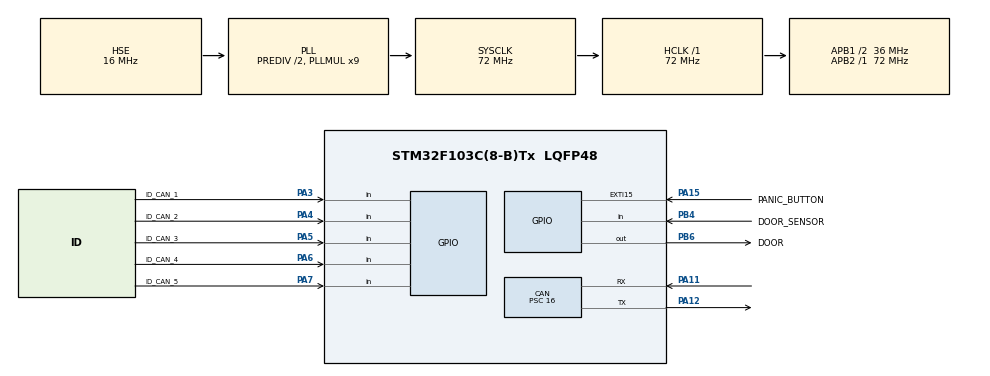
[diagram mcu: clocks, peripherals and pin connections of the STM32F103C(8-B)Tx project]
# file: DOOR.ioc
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CAN.BS1=CAN_BS1_16TQ
CAN.CalculateBaudRate=125000
CAN.CalculateTimeBit=8000
CAN.CalculateTimeQuantum=444.44444444444446
CAN.Prescaler=16
Mcu.Family=STM32F1
Mcu.Name=STM32F103C(8-B)Tx
Mcu.Package=LQFP48
NVIC.CAN1_RX1_IRQn=true\:1\:0\:true\:false\:true\:true\:true\:true
NVIC.EXTI15_10_IRQn=true\:0\:0\:false\:false\:true\:true\:true\:true
NVIC.PriorityGroup=NVIC_PRIORITYGROUP_4
NVIC.USB_LP_CAN1_RX0_IRQn=true\:1\:0\:true\:false\:true\:true\:true\:true
PA11.Mode=CAN_Activate
PA11.Signal=CAN_RX
PA12.Mode=CAN_Activate
PA12.Signal=CAN_TX
PA13.Mode=Serial_Wire
PA13.Signal=SYS_JTMS-SWDIO
PA14.Mode=Serial_Wire
PA14.Signal=SYS_JTCK-SWCLK
PA15.GPIO_Label=PANIC_BUTTON
PA15.GPIO_ModeDefaultEXTI=GPIO_MODE_IT_FALLING
PA15.Signal=GPXTI15
PA3.GPIO_Label=ID_CAN_1
PA3.GPIO_PuPd=GPIO_PULLDOWN
PA3.Signal=GPIO_Input
PA4.GPIO_Label=ID_CAN_2
PA4.GPIO_PuPd=GPIO_PULLDOWN
PA4.Signal=GPIO_Input
PA5.GPIO_Label=ID_CAN_3
PA5.GPIO_PuPd=GPIO_PULLDOWN
PA5.Signal=GPIO_Input
PA6.GPIO_Label=ID_CAN_4
PA6.GPIO_PuPd=GPIO_PULLDOWN
PA6.Signal=GPIO_Input
PA7.GPIO_Label=ID_CAN_5
PA7.GPIO_PuPd=GPIO_PULLDOWN
PA7.Signal=GPIO_Input
PB4.GPIO_Label=DOOR_SENSOR
PB4.Signal=GPIO_Input
PB6.GPIO_Label=DOOR
PB6.Signal=GPIO_Output
PD0-OSC_IN.Mode=HSE-External-Oscillator
PD0-OSC_IN.Signal=RCC_OSC_IN
PD1-OSC_OUT.Mode=HSE-External-Oscillator
PD1-OSC_OUT.Signal=RCC_OSC_OUT
ProjectManager.HeapSize=0x200
ProjectManager.StackSize=0x400
ProjectManager.TargetToolchain=STM32CubeIDE
RCC.AHBFreq_Value=72000000
RCC.APB1CLKDivider=RCC_HCLK_DIV2
RCC.APB1Freq_Value=36000000
RCC.APB1TimFreq_Value=72000000
RCC.APB2Freq_Value=72000000
RCC.APB2TimFreq_Value=72000000
RCC.HCLKFreq_Value=72000000
RCC.HSEDivPLL=RCC_HSE_PREDIV_DIV2
RCC.HSE_VALUE=16000000
RCC.PLLMUL=RCC_PLL_MUL9
RCC.PLLSourceVirtual=RCC_PLLSOURCE_HSE
RCC.SYSCLKFreq_VALUE=72000000
RCC.SYSCLKSource=RCC_SYSCLKSOURCE_PLLCLK
RCC.USBFreq_Value=72000000
board=custom

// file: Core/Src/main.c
/* USER CODE BEGIN Header */
/**
  ******************************************************************************
  * @file           : main.c
  * @brief          : Main program body
  ******************************************************************************
  * @attention
  *
  * Copyright (c) 2023 STMicroelectronics.
  * All rights reserved.
  *
  * This software is licensed under terms that can be found in the LICENSE file
  * in the root directory of this software component.
  * If no LICENSE file comes with this software, it is provided AS-IS.
  *
  ******************************************************************************
  */
/* USER CODE END Header */
#include "main.h"

/* USER CODE BEGIN Includes */
#include <math.h>
/* USER CODE END Includes */

CAN_HandleTypeDef hcan;

/* USER CODE BEGIN PV */
uint8_t can_id=0;								//CAN ID

CAN_TxHeaderTypeDef TxHeader;
CAN_RxHeaderTypeDef RxHeader;
uint32_t TxMailBox;
uint8_t RxData[8];
uint8_t TxData[8];

/* USER CODE END PV */

void SystemClock_Config(void);
static void MX_GPIO_Init(void);
static void MX_CAN_Init(void);
/* USER CODE BEGIN PFP */
void init_can_id(void);
void send_ack(void);
/* USER CODE END PFP */

/* USER CODE BEGIN 0 */

void HAL_CAN_RxFifo0MsgPendingCallback(CAN_HandleTypeDef *hcan){
	HAL_CAN_GetRxMessage(hcan, CAN_RX_FIFO0, &RxHeader, RxData);

	if(RxData[1] == 0x03){
		if(RxData[0]==0x01){
			HAL_GPIO_WritePin(DOOR_GPIO_Port, DOOR_Pin, GPIO_PIN_SET);
		}
		else if(RxData[0]==0x00){
			HAL_GPIO_WritePin(DOOR_GPIO_Port, DOOR_Pin, GPIO_PIN_RESET);
		}
	}

	send_ack();
}

void HAL_GPIO_EXTI_Callback(uint16_t GPIO_Pin)
{
	if (GPIO_Pin == PANIC_BUTTON_Pin){
	  TxHeader.DLC = 2;
	  TxHeader.ExtId = 0;
	  TxHeader.IDE = CAN_ID_STD;
	  TxHeader.RTR = CAN_RTR_DATA;
	  TxHeader.StdId = 0x1B;							//MB ID_CAN
	  TxHeader.TransmitGlobalTime = DISABLE;

	  TxData[0] = 0x08;
	  TxData[1] = can_id;

	  HAL_CAN_AddTxMessage(&hcan, &TxHeader, TxData, &TxMailBox);
	}
}

/* USER CODE END 0 */

int main(void)
{

  /* MCU Configuration--------------------------------------------------------*/

  /* Reset of all peripherals, Initializes the Flash interface and the Systick. */
  HAL_Init();

  /* Configure the system clock */
  SystemClock_Config();

  /* Initialize all configured peripherals */
  MX_GPIO_Init();
  MX_CAN_Init();
  /* USER CODE BEGIN 2 */
  init_can_id();
  MX_CAN_Init();

  HAL_CAN_Start(&hcan);
  HAL_CAN_ActivateNotification(&hcan, CAN_IT_RX_FIFO0_MSG_PENDING);
  /* USER CODE END 2 */

  /* Infinite loop */
  while (1)
  {

  }
}

void SystemClock_Config(void)
{
  RCC_OscInitTypeDef RCC_OscInitStruct = {0};
  RCC_ClkInitTypeDef RCC_ClkInitStruct = {0};

  /** Initializes the RCC Oscillators according to the specified parameters
  * in the RCC_OscInitTypeDef structure.
  */
  RCC_OscInitStruct.OscillatorType = RCC_OSCILLATORTYPE_HSE;
  RCC_OscInitStruct.HSEState = RCC_HSE_ON;
  RCC_OscInitStruct.HSEPredivValue = RCC_HSE_PREDIV_DIV2;
  RCC_OscInitStruct.HSIState = RCC_HSI_ON;
  RCC_OscInitStruct.PLL.PLLState = RCC_PLL_ON;
  RCC_OscInitStruct.PLL.PLLSource = RCC_PLLSOURCE_HSE;
  RCC_OscInitStruct.PLL.PLLMUL = RCC_PLL_MUL9;
  if (HAL_RCC_OscConfig(&RCC_OscInitStruct) != HAL_OK)
  {
    Error_Handler();
  }

  /** Initializes the CPU, AHB and APB buses clocks
  */
  RCC_ClkInitStruct.ClockType = RCC_CLOCKTYPE_HCLK|RCC_CLOCKTYPE_SYSCLK
                              |RCC_CLOCKTYPE_PCLK1|RCC_CLOCKTYPE_PCLK2;
  RCC_ClkInitStruct.SYSCLKSource = RCC_SYSCLKSOURCE_PLLCLK;
  RCC_ClkInitStruct.AHBCLKDivider = RCC_SYSCLK_DIV1;
  RCC_ClkInitStruct.APB1CLKDivider = RCC_HCLK_DIV2;
  RCC_ClkInitStruct.APB2CLKDivider = RCC_HCLK_DIV1;

  if (HAL_RCC_ClockConfig(&RCC_ClkInitStruct, FLASH_LATENCY_2) != HAL_OK)
  {
    Error_Handler();
  }
}

static void MX_CAN_Init(void)
{

  hcan.Instance = CAN1;
  hcan.Init.Prescaler = 16;
  hcan.Init.Mode = CAN_MODE_NORMAL;
  hcan.Init.SyncJumpWidth = CAN_SJW_1TQ;
  hcan.Init.TimeSeg1 = CAN_BS1_16TQ;
  hcan.Init.TimeSeg2 = CAN_BS2_1TQ;
  hcan.Init.TimeTriggeredMode = DISABLE;
  hcan.Init.AutoBusOff = DISABLE;
  hcan.Init.AutoWakeUp = DISABLE;
  hcan.Init.AutoRetransmission = DISABLE;
  hcan.Init.ReceiveFifoLocked = DISABLE;
  hcan.Init.TransmitFifoPriority = DISABLE;
  if (HAL_CAN_Init(&hcan) != HAL_OK)
  {
    Error_Handler();
  }
  /* USER CODE BEGIN CAN_Init 2 */
  CAN_FilterTypeDef canfilterconfig;
  canfilterconfig.FilterActivation = CAN_FILTER_ENABLE;
  canfilterconfig.FilterBank = 10;
  canfilterconfig.FilterFIFOAssignment = CAN_RX_FIFO0;
  canfilterconfig.FilterIdHigh = can_id<<5;
  //canfilterconfig.FilterIdHigh = 0;
  canfilterconfig.FilterIdLow = 0x0000;
  canfilterconfig.FilterMaskIdHigh = 0x7FF<<5;
  //canfilterconfig.FilterMaskIdHigh = 0;
  canfilterconfig.FilterMaskIdLow = 0x0000 ;
  canfilterconfig.FilterMode = CAN_FILTERMODE_IDMASK;
  canfilterconfig.FilterScale = CAN_FILTERSCALE_32BIT;
  canfilterconfig.SlaveStartFilterBank = 0;

  HAL_CAN_ConfigFilter(&hcan, &canfilterconfig);
  /* USER CODE END CAN_Init 2 */

}

static void MX_GPIO_Init(void)
{
  GPIO_InitTypeDef GPIO_InitStruct = {0};

  /* GPIO Ports Clock Enable */
  __HAL_RCC_GPIOD_CLK_ENABLE();
  __HAL_RCC_GPIOA_CLK_ENABLE();
  __HAL_RCC_GPIOB_CLK_ENABLE();

  /*Configure GPIO pin Output Level */
  HAL_GPIO_WritePin(DOOR_GPIO_Port, DOOR_Pin, GPIO_PIN_RESET);

  /*Configure GPIO pins : ID_CAN_1_Pin ID_CAN_2_Pin ID_CAN_3_Pin ID_CAN_4_Pin
                           ID_CAN_5_Pin */
  GPIO_InitStruct.Pin = ID_CAN_1_Pin|ID_CAN_2_Pin|ID_CAN_3_Pin|ID_CAN_4_Pin
                          |ID_CAN_5_Pin;
  GPIO_InitStruct.Mode = GPIO_MODE_INPUT;
  GPIO_InitStruct.Pull = GPIO_PULLDOWN;
  HAL_GPIO_Init(GPIOA, &GPIO_InitStruct);

  /*Configure GPIO pin : PANIC_BUTTON_Pin */
  GPIO_InitStruct.Pin = PANIC_BUTTON_Pin;
  GPIO_InitStruct.Mode = GPIO_MODE_IT_FALLING;
  GPIO_InitStruct.Pull = GPIO_NOPULL;
  HAL_GPIO_Init(PANIC_BUTTON_GPIO_Port, &GPIO_InitStruct);

  /*Configure GPIO pin : DOOR_SENSOR_Pin */
  GPIO_InitStruct.Pin = DOOR_SENSOR_Pin;
  GPIO_InitStruct.Mode = GPIO_MODE_INPUT;
  GPIO_InitStruct.Pull = GPIO_NOPULL;
  HAL_GPIO_Init(DOOR_SENSOR_GPIO_Port, &GPIO_InitStruct);

  /*Configure GPIO pin : DOOR_Pin */
  GPIO_InitStruct.Pin = DOOR_Pin;
  GPIO_InitStruct.Mode = GPIO_MODE_OUTPUT_PP;
  GPIO_InitStruct.Pull = GPIO_NOPULL;
  GPIO_InitStruct.Speed = GPIO_SPEED_FREQ_LOW;
  HAL_GPIO_Init(DOOR_GPIO_Port, &GPIO_InitStruct);

  /* EXTI interrupt init*/
  HAL_NVIC_SetPriority(EXTI15_10_IRQn, 0, 0);
  HAL_NVIC_EnableIRQ(EXTI15_10_IRQn);

}

/* USER CODE BEGIN 4 */

/*
 * INICIALIZACION DEL CAN ID
 */
void init_can_id(void){
	if(HAL_GPIO_ReadPin(ID_CAN_1_GPIO_Port, ID_CAN_1_Pin))	can_id += pow(2,0);
	else can_id += 0;
	if(HAL_GPIO_ReadPin(ID_CAN_2_GPIO_Port, ID_CAN_2_Pin))	can_id += pow(2,1);
	else can_id += 0;
	if(HAL_GPIO_ReadPin(ID_CAN_3_GPIO_Port, ID_CAN_3_Pin))	can_id += pow(2,2);
	else can_id += 0;
	if(HAL_GPIO_ReadPin(ID_CAN_4_GPIO_Port, ID_CAN_4_Pin))	can_id += pow(2,3);
	else can_id += 0;
	if(HAL_GPIO_ReadPin(ID_CAN_5_GPIO_Port, ID_CAN_5_Pin))	can_id += pow(2,4);
	else can_id += 0;
}

/*
 * ENVIO DEL ACK A LA PLACA MADRE
 */

void send_ack(void){
	TxHeader.DLC = 2;
	TxHeader.ExtId = 0;
	TxHeader.IDE = CAN_ID_STD;
	TxHeader.RTR = CAN_RTR_DATA;
	TxHeader.StdId = 0x1B;							//MB ID_CAN
	TxHeader.TransmitGlobalTime = DISABLE;

	TxData[0] = 0x09;
	TxData[1] = can_id;

	HAL_CAN_AddTxMessage(&hcan, &TxHeader, TxData, &TxMailBox);
}

/* USER CODE END 4 */

void Error_Handler(void)
{
  __disable_irq();
  while (1)
  {
  }
}
